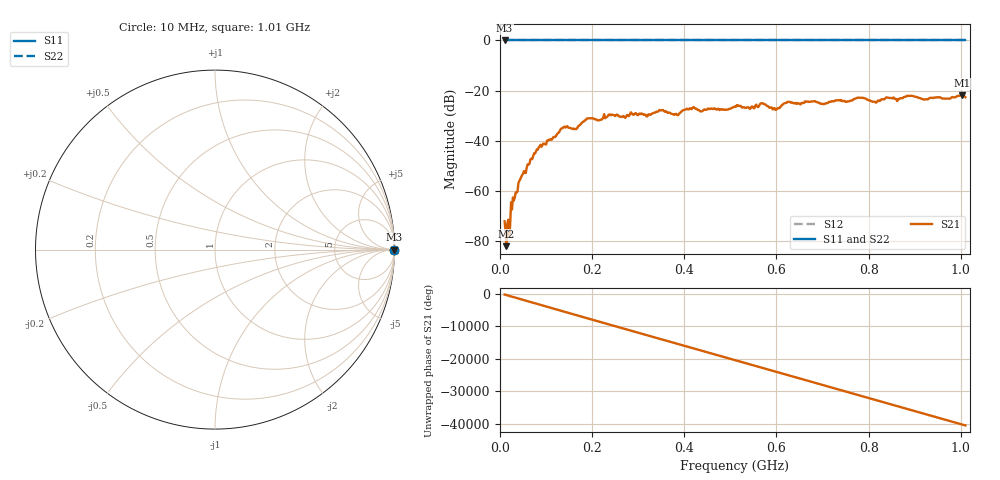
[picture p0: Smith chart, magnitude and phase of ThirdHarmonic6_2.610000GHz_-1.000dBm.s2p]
! 8/17/2025 5:42:37 AM
! C:\ANRITSUVNA\TEMP\TEMP.S2P
! CHANNEL.1
! TR.MEASUREMENT
! RAW.DATA
! RF.CORRECTION.OFF
! AVERAGING.OFF
! IF.BANDWIDTH: 5KHZ
! SWEEPTYPE:  FREQ.SWEEP(Linear)
! Reference Plane Port Info
! PORT:  PORT1  PORT2
! DISTANCE:  0  m  0  m
! TIME:  0  s  0  s
! PHASE.OFFSET:  0  deg.  0  deg.
! LOSS:  0  dB  0  dB
! REF.LOSS:  0  dB  0  dB
! REF.FREQ:  0  Hz  0  Hz
! Power Info
! POWER:  -20  dBm  -20  dBm
! EFF.POWER:  -20  dBm  -20  dBm
! SOURCE.ATTEN:  0  dB  0  dB
! TEST.ATTEN:  0  dB  0  dB
# GHZ S RI R 50.0
! FREQ.GHZ  S11RE  S11IM  S21RE  S21IM  S12RE  S12IM  S22RE  S22IM
!; PortSelection: Port_12
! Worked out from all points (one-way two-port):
!   501 points, 10 MHz to 1.01 GHz, reference 50 ohm
!   highest |S21| = -21.80 dB at 1.002 GHz (marker M1); lowest = -82.0 dB at 14 MHz (marker M2)
!   lowest |S11| = 0.0 dB at 10 MHz (marker M3)
!   |S11| at or under -10 dB: nowhere
!   |S22| runs from 0.0 to 0.0 dB; largest |S21 - S12| = 1.1
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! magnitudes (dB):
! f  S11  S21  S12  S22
! 10 MHz  0.0  -72.1  0.0  0.0
! 14 MHz  0.0  -82.0  0.0  0.0
! 18 MHz  0.0  -71.5  0.0  0.0
! 28 MHz  0.0  -62.6  0.0  0.0
! 44 MHz  0.0  -55.3  0.0  0.0
! 84 MHz  0.0  -42.7  0.0  0.0
! 136 MHz  0.0  -34.9  0.0  0.0
! 162 MHz  0.0  -35.4  0.0  0.0
! 178 MHz  0.0  -32.7  0.0  0.0
! 240 MHz  0.0  -29.8  0.0  0.0
! 344 MHz  0.0  -28.2  0.0  0.0
! 382 MHz  0.0  -29.3  0.0  0.0
! 416 MHz  0.0  -27.4  0.0  0.0
! 510 MHz  0.0  -26.3  0.0  0.0
! 570 MHz  0.0  -25.0  0.0  0.0
! 596 MHz  0.0  -27.0  0.0  0.0
! 624 MHz  0.0  -24.5  0.0  0.0
! 678 MHz  0.0  -24.3  0.0  0.0
! 814 MHz  0.0  -24.6  0.0  0.0
! 844 MHz  0.0  -22.9  0.0  0.0
! 1.002 GHz  0.0  -21.8  0.0  0.0
! 1.01 GHz  0.0  -22.6  0.0  0.0
